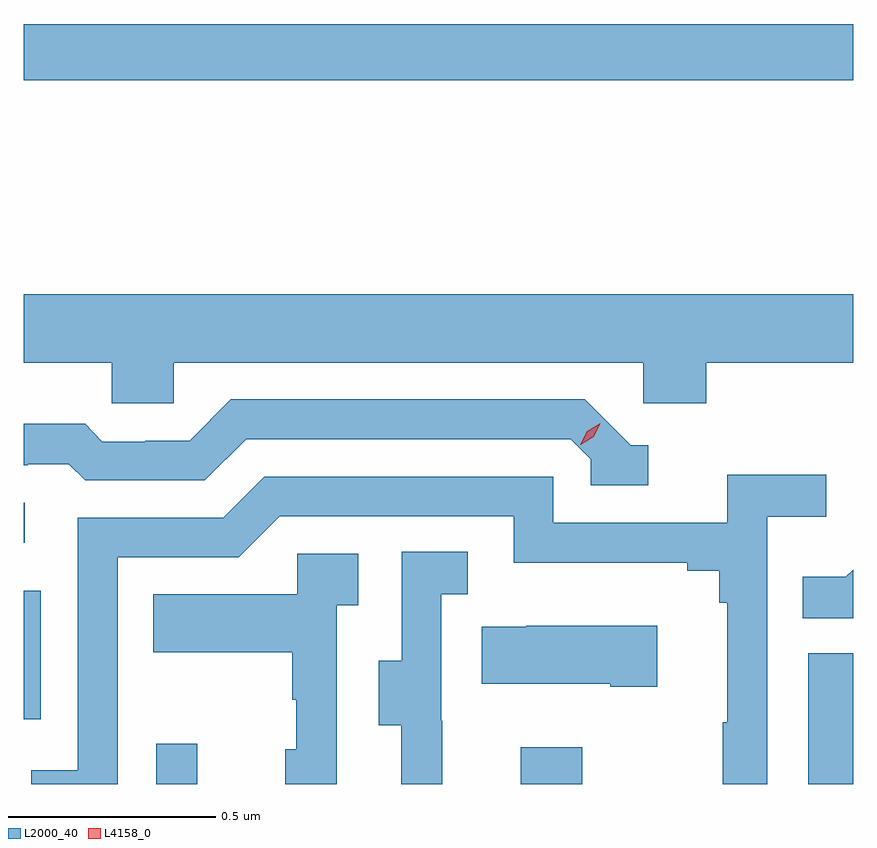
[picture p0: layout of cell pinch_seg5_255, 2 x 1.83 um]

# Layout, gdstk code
import gdstk
lib = gdstk.Library(unit=1e-6, precision=1e-09)
def R(c, l, rs):  # rectangles x0, y0, x1, y1
    for r in rs: c.add(gdstk.rectangle(r[:2], r[2:], *l))
def P(c, l, *ps):  # polygons
    for p in ps: c.add(gdstk.Polygon(p, *l))
L2000_40 = (2000, 40)
L4158_0 = (4158, 0)

pinch_seg5_255 = lib.new_cell('pinch_seg5_255')
R(pinch_seg5_255, L2000_40, [(935.667,894.372,935.765,894.469), (936.545,894.372,936.693,894.46), (937.238,894.372,937.347,894.687), (935.347,894.528,935.388,894.838), (935.347,894.954,935.35,895.05), (935.347,896.068,937.347,896.204)])
P(pinch_seg5_255, L2000_40, [(935.709,895.388),(936.84,895.388),(936.84,895.29),(936.992,895.29),(936.992,895.388),(937.347,895.388),(937.347,895.552),(935.347,895.552),(935.347,895.388),(935.559,895.388),(935.559,895.29),(935.709,895.29)],
  [(936.853,895.188),(936.81,895.188),(936.699,895.299),(935.846,895.299),(935.747,895.2),(935.64,895.2),(935.64,895.197),(935.537,895.197),(935.495,895.24),(935.347,895.24),(935.347,895.14),(935.357,895.14),(935.357,895.143),(935.456,895.143),(935.495,895.104),(935.784,895.104),(935.883,895.203),(936.666,895.203),(936.714,895.155),(936.714,895.092),(936.853,895.092)],
  [(935.574,894.918),(935.865,894.918),(935.964,895.017),(936.528,895.017),(936.528,894.905),(936.947,894.905),(936.947,894.886),(937.024,894.886),(937.024,894.809),(937.043,894.809),(937.043,894.521),(937.032,894.521),(937.032,894.372),(937.14,894.372),(937.14,895.016),(937.282,895.016),(937.282,895.118),(937.043,895.118),(937.043,895.002),(936.624,895.002),(936.624,895.113),(935.927,895.113),(935.828,895.014),(935.478,895.014),(935.478,894.405),(935.365,894.405),(935.365,894.372),(935.574,894.372)],
  [(936.356,894.525),(936.354,894.525),(936.354,894.829),(936.418,894.829),(936.418,894.932),(936.258,894.932),(936.258,894.669),(936.203,894.669),(936.203,894.514),(936.257,894.514),(936.257,894.372),(936.356,894.372)],
  [(936.102,894.803),(936.154,894.803),(936.154,894.927),(936.006,894.927),(936.006,894.829),(935.659,894.829),(935.659,894.689),(935.994,894.689),(935.994,894.575),(936.004,894.575),(936.004,894.456),(935.978,894.456),(935.978,894.372),(936.102,894.372)],
  [(937.347,894.889),(937.329,894.871),(937.225,894.871),(937.225,894.772),(937.347,894.772)],
  [(936.874,894.754),(936.559,894.754),(936.559,894.751),(936.451,894.751),(936.451,894.614),(936.761,894.614),(936.761,894.607),(936.874,894.607)])
P(pinch_seg5_255, L4158_0, [(936.689,895.19),(936.689,895.19),(936.706,895.222),(936.737,895.241),(936.737,895.241),(936.737,895.241),(936.721,895.209),(936.69,895.19)])

lib.write_gds('pinch_seg5_255.gds')
